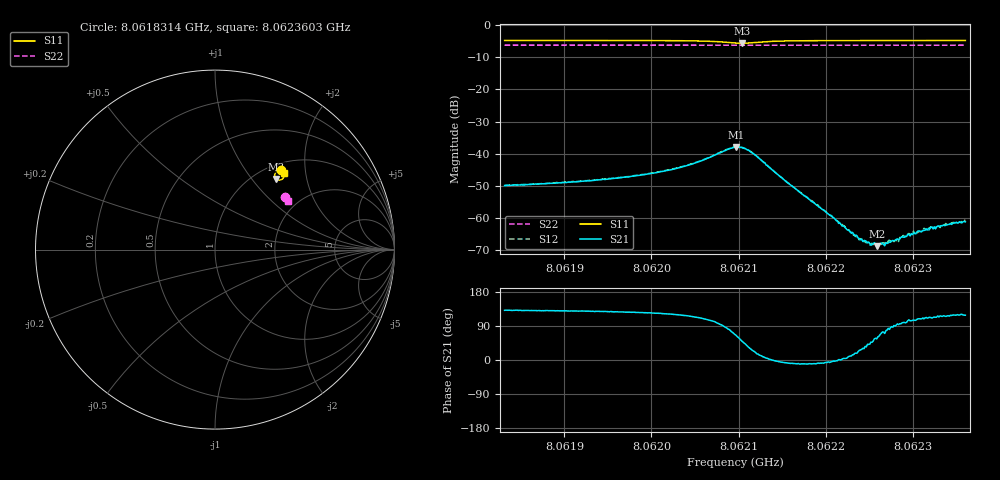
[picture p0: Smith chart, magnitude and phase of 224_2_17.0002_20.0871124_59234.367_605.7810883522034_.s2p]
#  HZ  S  RI  R  50.00
! Rohde & Schwarz Vector Network Analyzer
! Rohde-Schwarz,ZNB20-2Port,1311601062101988,3.16
! Created: UTC 3/20/2024, 11:02:06 PM
! freq[Hz]  re:S11  im:S11  re:S21  im:S21  re:S12  im:S12  re:S22  im:S22
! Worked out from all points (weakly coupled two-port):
!   401 points, 8.0618314 GHz to 8.0623603 GHz, reference 50 ohm
!   highest |S21| = -37.96 dB at 8.0620972 GHz (marker M1); lowest = -68.8 dB at 8.0622585 GHz (marker M2)
!   lowest |S11| = -5.7 dB at 8.0621038 GHz (marker M3), VSWR 3.17, Z = 61.8 + j66.8 ohm
!   |S11| at or under -10 dB: nowhere
!   |S22| runs from -6.3 to -6.2 dB; largest |S21 - S12| = 0.00093
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8.06183139e9  0.3658 0.4446  -0.00209 0.0024  -0.00201 0.00256  0.3874 0.2954
8.06191999e9  0.3723 0.4388  -0.00235 0.00288  -0.00218 0.00304  0.3905 0.2912
8.06197288e9  0.377 0.4337  -0.00257 0.00348  -0.00244 0.00367  0.3922 0.2883
8.06200858e9  0.3805 0.4287  -0.00282 0.00432  -0.00258 0.00454  0.3935 0.2866
8.06204693e9  0.3841 0.4182  -0.0029 0.0063  -0.00253 0.00653  0.3948 0.2842
8.06209586e9  0.3556 0.3874  0.00491 0.0116  0.00558 0.0113  0.3946 0.281
8.06209718e9  0.353 0.3878  0.00537 0.0115  0.00613 0.0112  0.3945 0.281
8.06210379e9  0.3408 0.394  0.00803 0.00945  0.00863 0.00916  0.3942 0.2813
8.0621104e9  0.3334 0.4054  0.00924 0.00674  0.00965 0.00628  0.3944 0.2816
8.06211834e9  0.333 0.4195  0.00895 0.00361  0.00919 0.00308  0.3946 0.2818
8.06215272e9  0.3555 0.4393  0.00384 -0.000469  0.00384 -0.000703  0.3972 0.2806
8.06218446e9  0.3664 0.4385  0.00176 -0.000311  0.0018 -0.000391  0.3985 0.279
8.06221884e9  0.373 0.436  0.000747 3.11e-05  0.000791 -3.41e-05  0.3999 0.2772
8.06223603e9  0.3754 0.4348  0.000498 0.000163  0.000486 0.00012  0.4005 0.2763
8.06225057e9  0.3772 0.4339  0.000298 0.000267  0.000299 0.000235  0.401 0.2755
8.06225851e9  0.378 0.4333  0.000205 0.000301  0.000229 0.000318  0.4013 0.275
8.06226909e9  0.3791 0.4325  8.97e-05 0.000404  0.000114 0.000388  0.4016 0.2745
8.06227305e9  0.3795 0.4323  6.96e-05 0.000416  0.0001 0.000442  0.4019 0.2744
8.06228099e9  0.3802 0.4317  -1.72e-05 0.000464  3.95e-05 0.000441  0.4021 0.2741
8.0622876e9  0.3809 0.4314  -7.12e-05 0.000507  -4.41e-05 0.000506  0.4022 0.2736
8.06231934e9  0.3836 0.4293  -0.000261 0.000618  -0.000197 0.000677  0.4033 0.272
8.06236033e9  0.3866 0.4269  -0.00041 0.000766  -0.000408 0.000843  0.4046 0.2699
